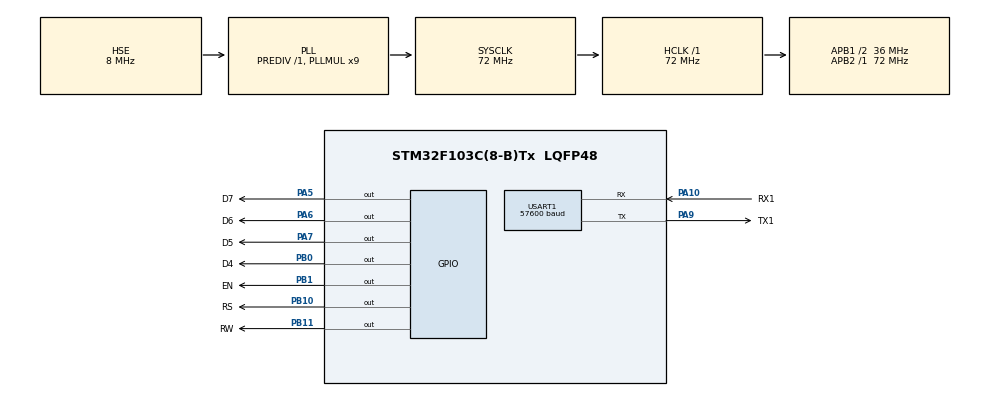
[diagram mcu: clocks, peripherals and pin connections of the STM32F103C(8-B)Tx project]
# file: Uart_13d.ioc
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Mcu.Family=STM32F1
Mcu.Name=STM32F103C(8-B)Tx
Mcu.Package=LQFP48
NVIC.PriorityGroup=NVIC_PRIORITYGROUP_4
NVIC.USART1_IRQn=true\:0\:0\:false\:false\:true\:true\:true\:true
PA10.GPIO_Label=RX1
PA10.Mode=Asynchronous
PA10.Signal=USART1_RX
PA13.Mode=Serial_Wire
PA13.Signal=SYS_JTMS-SWDIO
PA14.Mode=Serial_Wire
PA14.Signal=SYS_JTCK-SWCLK
PA5.GPIO_Label=D7
PA5.Signal=GPIO_Output
PA6.GPIO_Label=D6
PA6.Signal=GPIO_Output
PA7.GPIO_Label=D5
PA7.Signal=GPIO_Output
PA9.GPIO_Label=TX1
PA9.Mode=Asynchronous
PA9.Signal=USART1_TX
PB0.GPIO_Label=D4
PB0.Signal=GPIO_Output
PB1.GPIO_Label=EN
PB1.Signal=GPIO_Output
PB10.GPIO_Label=RS
PB10.Signal=GPIO_Output
PB11.GPIO_Label=RW
PB11.Signal=GPIO_Output
PD0-OSC_IN.Mode=HSE-External-Oscillator
PD0-OSC_IN.Signal=RCC_OSC_IN
PD1-OSC_OUT.Mode=HSE-External-Oscillator
PD1-OSC_OUT.Signal=RCC_OSC_OUT
ProjectManager.HeapSize=0x200
ProjectManager.StackSize=0x400
ProjectManager.TargetToolchain=MDK-ARM V5.32
RCC.AHBFreq_Value=72000000
RCC.APB1CLKDivider=RCC_HCLK_DIV2
RCC.APB1Freq_Value=36000000
RCC.APB1TimFreq_Value=72000000
RCC.APB2Freq_Value=72000000
RCC.APB2TimFreq_Value=72000000
RCC.HCLKFreq_Value=72000000
RCC.PLLMUL=RCC_PLL_MUL9
RCC.PLLSourceVirtual=RCC_PLLSOURCE_HSE
RCC.SYSCLKFreq_VALUE=72000000
RCC.SYSCLKSource=RCC_SYSCLKSOURCE_PLLCLK
RCC.USBFreq_Value=72000000
USART1.BaudRate=57600
USART1.VirtualMode=VM_ASYNC
board=custom

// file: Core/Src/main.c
/* USER CODE BEGIN Header */
/**
  ******************************************************************************
  * @file           : main.c
  * @brief          : Main program body
  ******************************************************************************
  * @attention
  *
  * Copyright (c) 2022 STMicroelectronics.
  * All rights reserved.
  *
  * This software is licensed under terms that can be found in the LICENSE file
  * in the root directory of this software component.
  * If no LICENSE file comes with this software, it is provided AS-IS.
  *
  ******************************************************************************
  */
/* USER CODE END Header */
#include "main.h"

/* USER CODE BEGIN Includes */
#include "string.h"
/* USER CODE END Includes */

UART_HandleTypeDef huart1;

/* USER CODE BEGIN PV */
uint8_t OK[2] = {"OK"};
uint8_t Er0[8] = {"ERROR 41"};
uint8_t Er1[8] = {"ERROR 42"};
uint8_t Er2[8] = {"ERROR 43"};
uint8_t Er3[8] = {"ERROR 44"};
uint8_t Er4[8] = {"ERROR 45"};
uint8_t Er5[8] = {"ERROR 46"};
uint8_t ptu = 0;
uint8_t data_receive[1];
uint8_t data_copy[16];
uint8_t flag = 0;
uint8_t check_xor;
void lcd_busy(void);
/* USER CODE END PV */

void SystemClock_Config(void);
static void MX_GPIO_Init(void);
static void MX_USART1_UART_Init(void);

/* USER CODE BEGIN 0 */
void write_to_lcd_4bits(uint8_t rs, uint8_t data)
{
	HAL_GPIO_WritePin(RS_GPIO_Port, RS_Pin, rs);
	HAL_GPIO_WritePin(RW_GPIO_Port, RW_Pin, 0);
	HAL_GPIO_WritePin(EN_GPIO_Port, EN_Pin, 1);

	HAL_GPIO_WritePin(D7_GPIO_Port, D7_Pin, ((data>>3)&0x01));
	HAL_GPIO_WritePin(D6_GPIO_Port, D6_Pin, ((data>>2)&0x01));
	HAL_GPIO_WritePin(D5_GPIO_Port, D5_Pin, ((data>>1)&0x01));
	HAL_GPIO_WritePin(D4_GPIO_Port, D4_Pin, ((data>>0)&0x01));

	for(int i = 0; i < 72; i++)
	{
		__asm("NOP");
	}

	HAL_GPIO_WritePin(EN_GPIO_Port, EN_Pin, 0);
	lcd_busy();
}

void send_command(uint8_t data)
{
	write_to_lcd_4bits(0, (data>>4)&0x0f);
	write_to_lcd_4bits (0, (data>>0)&0x0f);
}

void display_lcd(uint8_t data)
{
	write_to_lcd_4bits(1, (data>>4)&0x0f);
	write_to_lcd_4bits (1, (data>>0)&0x0f);
}

void display_text(char *data)
{
	uint8_t j;
	for(j=0; j<strlen(data); j++)
	{
		display_lcd(data[j]);
	}
}

void  lcd_clear()
{
	send_command(0x01);
	lcd_busy();
}

void set_cursor(uint8_t row, uint8_t col)
{
	uint8_t temp;
	switch(row)
	{
		case 0:
			temp = col|0x80;
		  break;
		case 1:
			temp = col|0xC0;
		  break;
		default:
			temp = col|0x80;
	}
	send_command(temp);
}

void lcd_config()
{
	send_command(0x28); //LCD 4bit, 2-line, 5x8 hieu 2
	lcd_busy();
	send_command(0x28); //LCD 4bit, 2-line, 5x8 hieu 8
	lcd_busy();
	send_command(0x0f);
	lcd_busy();
	send_command(0x06);
	lcd_busy();
	send_command(0x01);
	lcd_busy();
}

void lcd_busy(void)
{
	uint8_t busy_flag_copy;
	GPIO_InitTypeDef GPIO_InitStruct = {0};
	GPIO_InitStruct.Pin = GPIO_PIN_5;
  GPIO_InitStruct.Mode = GPIO_MODE_INPUT;
  GPIO_InitStruct.Pull = GPIO_NOPULL;
  HAL_GPIO_Init(GPIOA, &GPIO_InitStruct);

	HAL_GPIO_WritePin(RS_GPIO_Port, RS_Pin, 0);
	HAL_GPIO_WritePin(RW_GPIO_Port, RW_Pin, 1);
	do{
		busy_flag_copy = 0;
		HAL_GPIO_WritePin(EN_GPIO_Port, EN_Pin, 1);
		for(int i = 0; i < 72; i++);

		busy_flag_copy = HAL_GPIO_ReadPin(GPIOA, GPIO_PIN_5);

		HAL_GPIO_WritePin(EN_GPIO_Port, EN_Pin, 0);
		for(int i = 0; i < 72; i++);

		HAL_GPIO_WritePin(EN_GPIO_Port, EN_Pin, 1);
		for(int i = 0; i < 72; i++);

		HAL_GPIO_WritePin(EN_GPIO_Port, EN_Pin, 0);
		for(int i = 0; i < 72; i++);
	}while(busy_flag_copy);
	HAL_GPIO_WritePin(RW_GPIO_Port, RW_Pin, 0);
	GPIO_InitStruct.Pin = GPIO_PIN_5;
  GPIO_InitStruct.Mode = GPIO_MODE_OUTPUT_PP;
  GPIO_InitStruct.Pull = GPIO_NOPULL;
  GPIO_InitStruct.Speed = GPIO_SPEED_FREQ_LOW;
  HAL_GPIO_Init(GPIOA, &GPIO_InitStruct);
}

void lcd_Reset()
{
	set_cursor(0,0);
	display_text("Status_1");
	HAL_UART_Transmit(&huart1,"Start", 5, 10);
}

void lcd_A()
{
	set_cursor(0,0);
	display_text("Status_2");
	HAL_UART_Transmit(&huart1,"02", 2, 10);
	flag = 0;
}

void lcd_ADC2()
{
	set_cursor(0,0);
	display_text("Status_3");
	HAL_UART_Transmit(&huart1,"03", 2, 10);
}

void lcd_B()
{
	set_cursor(0,0);
	display_text("Status_4");
	HAL_UART_Transmit(&huart1,"04", 2, 10);
	flag = 0;
}

void lcd_ADC1()
{
	set_cursor(0,0);
	display_text("Status_5");
	HAL_UART_Transmit(&huart1,"05", 2, 10);
}
/* USER CODE END 0 */

int main(void)
{

  /* MCU Configuration--------------------------------------------------------*/

  /* Reset of all peripherals, Initializes the Flash interface and the Systick. */
  HAL_Init();

  /* Configure the system clock */
  SystemClock_Config();

  /* Initialize all configured peripherals */
  MX_GPIO_Init();
  MX_USART1_UART_Init();
  /* USER CODE BEGIN 2 */
	HAL_UART_Receive_IT(&huart1, &data_receive[0], 1);
	lcd_config();
  /* USER CODE END 2 */

  /* Infinite loop */
  while (1)
  {

    /* USER CODE BEGIN 3 */
		if(flag == 1)
		{
			if(data_copy[0] == 'A')
			{
				lcd_A();
				while(1)
				{
					HAL_ADC_Start(&hadc1);
					HAL_ADC_PollForConversion(&hadc1, 10);
					adc_value = HAL_ADC_GetValue(&hadc1);
					v = adc_value*3.3/4096;
					if(v >= 2)
					{
						lcd_ADC2();
					}
				}
			}
		}
  /* USER CODE END 3 */
}

void SystemClock_Config(void)
{
  RCC_OscInitTypeDef RCC_OscInitStruct = {0};
  RCC_ClkInitTypeDef RCC_ClkInitStruct = {0};

  /** Initializes the RCC Oscillators according to the specified parameters
  * in the RCC_OscInitTypeDef structure.
  */
  RCC_OscInitStruct.OscillatorType = RCC_OSCILLATORTYPE_HSE;
  RCC_OscInitStruct.HSEState = RCC_HSE_ON;
  RCC_OscInitStruct.HSEPredivValue = RCC_HSE_PREDIV_DIV1;
  RCC_OscInitStruct.HSIState = RCC_HSI_ON;
  RCC_OscInitStruct.PLL.PLLState = RCC_PLL_ON;
  RCC_OscInitStruct.PLL.PLLSource = RCC_PLLSOURCE_HSE;
  RCC_OscInitStruct.PLL.PLLMUL = RCC_PLL_MUL9;
  if (HAL_RCC_OscConfig(&RCC_OscInitStruct) != HAL_OK)
  {
    Error_Handler();
  }

  /** Initializes the CPU, AHB and APB buses clocks
  */
  RCC_ClkInitStruct.ClockType = RCC_CLOCKTYPE_HCLK|RCC_CLOCKTYPE_SYSCLK
                              |RCC_CLOCKTYPE_PCLK1|RCC_CLOCKTYPE_PCLK2;
  RCC_ClkInitStruct.SYSCLKSource = RCC_SYSCLKSOURCE_PLLCLK;
  RCC_ClkInitStruct.AHBCLKDivider = RCC_SYSCLK_DIV1;
  RCC_ClkInitStruct.APB1CLKDivider = RCC_HCLK_DIV2;
  RCC_ClkInitStruct.APB2CLKDivider = RCC_HCLK_DIV1;

  if (HAL_RCC_ClockConfig(&RCC_ClkInitStruct, FLASH_LATENCY_2) != HAL_OK)
  {
    Error_Handler();
  }
}

static void MX_USART1_UART_Init(void)
{

  huart1.Instance = USART1;
  huart1.Init.BaudRate = 57600;
  huart1.Init.WordLength = UART_WORDLENGTH_8B;
  huart1.Init.StopBits = UART_STOPBITS_1;
  huart1.Init.Parity = UART_PARITY_NONE;
  huart1.Init.Mode = UART_MODE_TX_RX;
  huart1.Init.HwFlowCtl = UART_HWCONTROL_NONE;
  huart1.Init.OverSampling = UART_OVERSAMPLING_16;
  if (HAL_UART_Init(&huart1) != HAL_OK)
  {
    Error_Handler();
  }

}

static void MX_GPIO_Init(void)
{
  GPIO_InitTypeDef GPIO_InitStruct = {0};

  /* GPIO Ports Clock Enable */
  __HAL_RCC_GPIOD_CLK_ENABLE();
  __HAL_RCC_GPIOA_CLK_ENABLE();
  __HAL_RCC_GPIOB_CLK_ENABLE();

  /*Configure GPIO pin Output Level */
  HAL_GPIO_WritePin(GPIOA, D7_Pin|D6_Pin|D5_Pin, GPIO_PIN_RESET);

  /*Configure GPIO pin Output Level */
  HAL_GPIO_WritePin(GPIOB, D4_Pin|EN_Pin|RS_Pin|RW_Pin, GPIO_PIN_RESET);

  /*Configure GPIO pins : D7_Pin D6_Pin D5_Pin */
  GPIO_InitStruct.Pin = D7_Pin|D6_Pin|D5_Pin;
  GPIO_InitStruct.Mode = GPIO_MODE_OUTPUT_PP;
  GPIO_InitStruct.Pull = GPIO_NOPULL;
  GPIO_InitStruct.Speed = GPIO_SPEED_FREQ_LOW;
  HAL_GPIO_Init(GPIOA, &GPIO_InitStruct);

  /*Configure GPIO pins : D4_Pin EN_Pin RS_Pin RW_Pin */
  GPIO_InitStruct.Pin = D4_Pin|EN_Pin|RS_Pin|RW_Pin;
  GPIO_InitStruct.Mode = GPIO_MODE_OUTPUT_PP;
  GPIO_InitStruct.Pull = GPIO_NOPULL;
  GPIO_InitStruct.Speed = GPIO_SPEED_FREQ_LOW;
  HAL_GPIO_Init(GPIOB, &GPIO_InitStruct);

}

void Error_Handler(void)
{
  __disable_irq();
  while (1)
  {
  }
}
